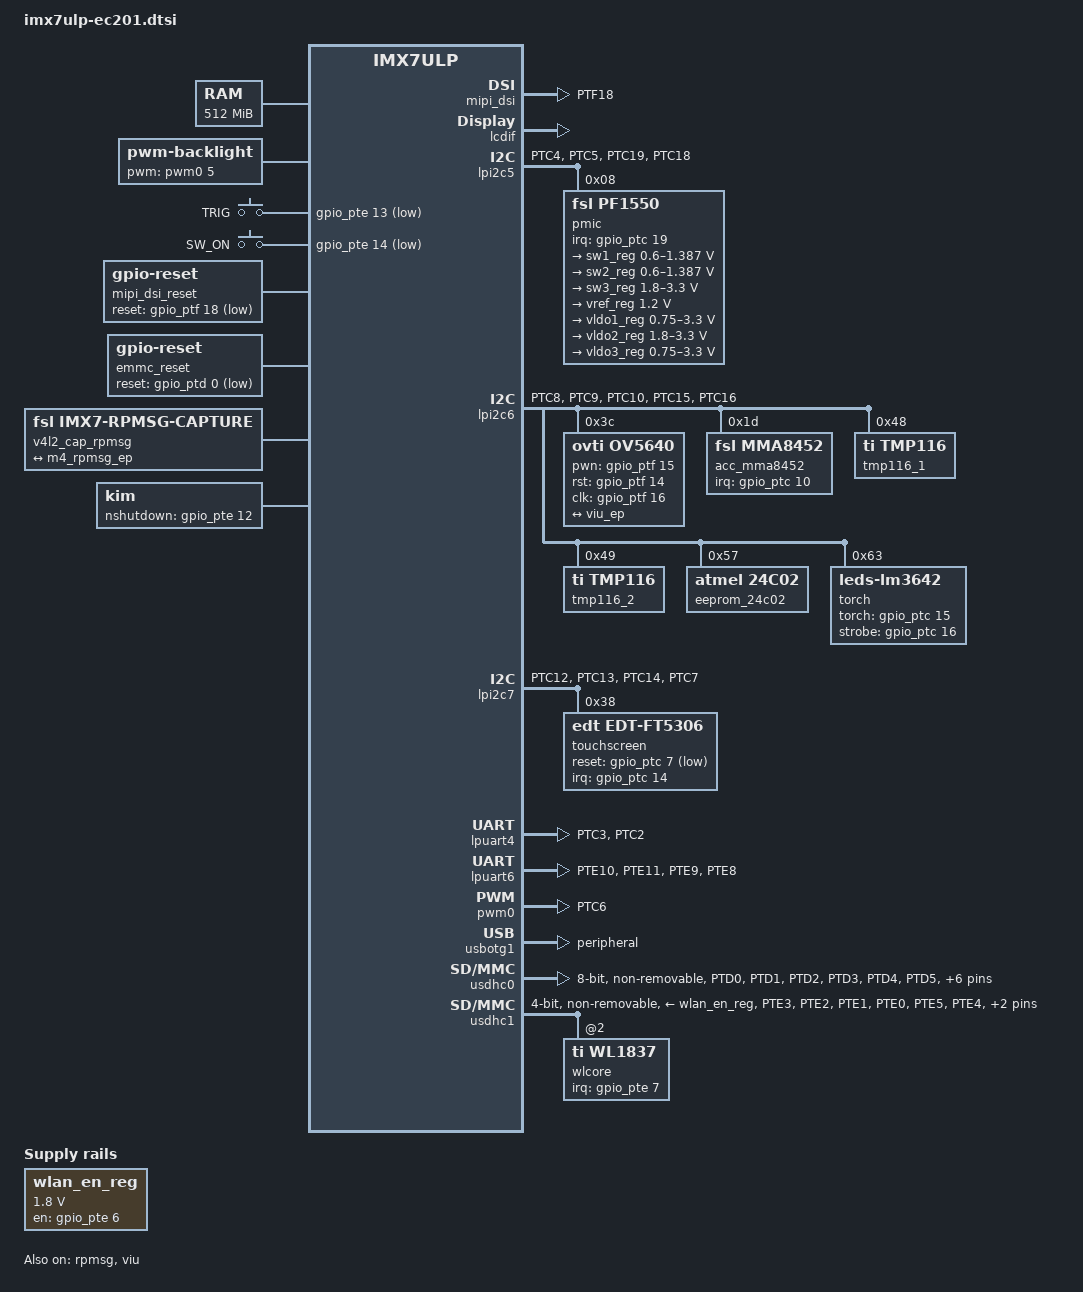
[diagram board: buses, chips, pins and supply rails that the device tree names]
/*
 * Copyright 2019 FLIR
 *
 * This program is free software; you can redistribute it and/or modify
 * it under the terms of the GNU General Public License version 2 as
 * published by the Free Software Foundation.
 */

/ {
	chosen {
		stdout-path = &lpuart4;
	};

	memory {
		device_type = "memory";
		reg = <0x60000000 0x20000000>;
	};

	backlight {
		compatible = "pwm-backlight";
		pwms = <&pwm0 5 50000>;
		brightness-levels = <0 10 20 30 40 50 60 70 80 90 100>;
		default-brightness-level = <7>;
		status = "okay";
	};

	regulators {
		compatible = "simple-bus";
		#address-cells = <1>;
		#size-cells = <0>;

		wlan_en_reg: wlan_en_reg {
			compatible = "regulator-fixed";
			regulator-name = "wl";
			regulator-min-microvolt = <1800000>;
			regulator-max-microvolt = <1800000>;
			gpio = <&gpio_pte 6 GPIO_ACTIVE_HIGH>;
			startup-delay-us = <70000>;
			enable-active-high;
		};
	};

	gpio_keys {
		compatible = "gpio-keys";
		pinctrl-names = "default";
		pinctrl-0 = <&pinctrl_gpiokeys>;
		#address-cells = <1>;
		#size-cells = <0>;

		TRIG {
			label = "TRIG";
			linux,input-type = <5>; /* EV_SW */
			linux,code = <0x120>;
			gpios = <&gpio_pte 13 GPIO_ACTIVE_LOW>;
			debounce-interval = <5>;
		};

		SW_ON {
			label = "SW_ON";
			linux,input-type = <5>; /* EV_SW */
			linux,code = <0x100>;
			gpios = <&gpio_pte 14 GPIO_ACTIVE_LOW>;
			debounce-interval = <5>;
		};
	};

	mipi_dsi_reset: mipi-dsi-reset {
		compatible = "gpio-reset";
		reset-gpios = <&gpio_ptf 18 GPIO_ACTIVE_LOW>;   // Dummy GPIO, not used
		reset-delay-us = <1000>;
		#reset-cells = <0>;
	};

	emmc_reset: emmc_reset {
		compatible = "gpio-reset";
		reset-gpios =  <&gpio_ptd 0 GPIO_ACTIVE_LOW>;
		reset-delay-us = <1000>;
		#reset-cells = <0>;
	};

	v4l2_cap_rpmsg {
		compatible = "fsl,imx7-rpmsg-capture";
		status = "okay";
		port {
			v4l2_cap_rpmsg_ep: endpoint {
				remote-endpoint = <&m4_rpmsg_ep>;
			};
		};
	};

	m4_rpmsg: m4_rpmsg {
		port {
			m4_rpmsg_ep: endpoint {
				remote-endpoint = <&v4l2_cap_rpmsg_ep>;
			};
		};
	};

	// Change memory access priorites (QoS) for AXI switches
	// Refer to chapter 13.2.1 (NIC-301 block diagram) and
	// chapter 13.4.2.3 (ASIB default values) of iMX7ULP reference manual

	nic0: nic0@41c00000 {
		compatible = "arm,nic-301";
		reg = <0x41c00000 0x100000>;
		m3_prio = <4>;		// Reduce 3D GPU prio from 5 to 4
		m4_prio = <4>;		// Reduce 2D GPU prio from 5 to 4
	};

	nic1: nic1@41d00000 {
		compatible = "arm,nic-301";
		reg = <0x41d00000 0x100000>;
		m2_prio = <5>;		// Raise Cortex-M4 prio from 1 to 5
		m5_prio = <5>;		// Raise VIU prio from 4 to 5
	};
	
	kim {
		compatible = "kim";
		nshutdown-gpio = <&gpio_pte 12 GPIO_ACTIVE_HIGH>;
		dev_name = "/dev/ttyLP2";
		flow_cntrl = <1>;
		baud_rate = <3000000>;
	};
 
	btwilink {
		compatible = "btwilink";
	};
};

&cpu0 {
	arm-supply= <&sw1_reg>;
};

/* LCD */
&mipi_dsi {
	pinctrl-names = "default", "sleep";
	pinctrl-0 = <&pinctrl_mipi_dsi_reset>;
	pinctrl-1 = <&pinctrl_mipi_dsi_reset>;
	lcd_panel = "ORISE-VGA";
	status = "okay";
	resets = <&mipi_dsi_reset>;
};

&lcdif {
	status = "okay";
	disp-dev = "mipi_dsi_northwest";
	display = <&display0>;

	display0: display@0 {
		bits-per-pixel = <32>;
		bus-width = <24>;
	};
};

&iomuxc1 {
	pinctrl-names = "default";
	pinctrl-0 = <&pinctrl_hog_1>;

	pinctrl_hog_1: hoggrp-1 {
    	fsl,pins = <
 			IMX7ULP_PAD_PTC0__PTC0      0x20002  /* SHUTTER_IN */
 			IMX7ULP_PAD_PTC1__PTC1      0x20002  /* SHUTTER_OUT */
 			IMX7ULP_PAD_PTE12__PTE12    0x3     /* BT_EN */
 			>;
	};

	pinctrl_pwm0: pwm0grp {
		fsl,pins = <
			IMX7ULP_PAD_PTC6__TPM4_CH5  0x3
			>;
	};

	pinctrl_gpiokeys: gpiokeysgrp {
		fsl,pins = <
			IMX7ULP_PAD_PTE13__PTE13  0x10003
			IMX7ULP_PAD_PTE14__PTE14  0x10003
			>;
		};

	pinctrl_lpi2c5: lpi2c5grp {
		fsl,pins = <
			IMX7ULP_PAD_PTC4__LPI2C5_SCL    0x27
			IMX7ULP_PAD_PTC5__LPI2C5_SDA    0x27
			IMX7ULP_PAD_PTC19__PTC19        0x3  /* PMIC_INT */
			IMX7ULP_PAD_PTC18__PTC18        0x27 /* PMIC_WD */
			>;
	};

	pinctrl_lpi2c6: lpi2c6grp {
		fsl,pins = <
			IMX7ULP_PAD_PTC8__LPI2C6_SCL    0x27
			IMX7ULP_PAD_PTC9__LPI2C6_SDA    0x27
			IMX7ULP_PAD_PTC10__PTC10        0x2 /* ACC_INT_n */
			IMX7ULP_PAD_PTC15__PTC15  	0x3 /* TORCH */
			IMX7ULP_PAD_PTC16__PTC16  	0x3 /* STROBE */
			>;
	};

	pinctrl_lpi2c7: lpi2c7grp {
		fsl,pins = <
			IMX7ULP_PAD_PTC12__LPI2C7_SCL   0x27
			IMX7ULP_PAD_PTC13__LPI2C7_SDA   0x27
			IMX7ULP_PAD_PTC14__PTC14        0x3 /* PCAPINT_n */
			IMX7ULP_PAD_PTC7__PTC7          0x3 /* TP_RESET_n */
			>;
	};

	pinctrl_lpuart4: lpuart4grp {
		fsl,pins = <
			IMX7ULP_PAD_PTC3__LPUART4_RX    0x3
			IMX7ULP_PAD_PTC2__LPUART4_TX    0x3
			>;
	};

	pinctrl_lpuart6: lpuart6grp {
		fsl,pins = <
			IMX7ULP_PAD_PTE10__LPUART6_TX   0x3
			IMX7ULP_PAD_PTE11__LPUART6_RX   0x3
			IMX7ULP_PAD_PTE9__LPUART6_RTS_B 0x3
			IMX7ULP_PAD_PTE8__LPUART6_CTS_B 0x3
			>;
	};

	pinctrl_usdhc0: usdhc0grp {
		fsl,pins = <
			IMX7ULP_PAD_PTD0__PTD0      0x20000     /* USDHC0 RST */
			IMX7ULP_PAD_PTD1__SDHC0_CMD 0x43
			IMX7ULP_PAD_PTD2__SDHC0_CLK 0x10042
			IMX7ULP_PAD_PTD3__SDHC0_D7  0x43
			IMX7ULP_PAD_PTD4__SDHC0_D6  0x43
			IMX7ULP_PAD_PTD5__SDHC0_D5  0x43
			IMX7ULP_PAD_PTD6__SDHC0_D4  0x43
			IMX7ULP_PAD_PTD7__SDHC0_D3  0x43
			IMX7ULP_PAD_PTD8__SDHC0_D2  0x43
			IMX7ULP_PAD_PTD9__SDHC0_D1  0x43
			IMX7ULP_PAD_PTD10__SDHC0_D0 0x43
			IMX7ULP_PAD_PTD11__SDHC0_DQS    0x42
			>;
	};

	pinctrl_usdhc1: usdhc1grp {
		fsl,pins = <
			IMX7ULP_PAD_PTE3__SDHC1_CMD     0x43
			IMX7ULP_PAD_PTE2__SDHC1_CLK     0x10042
			IMX7ULP_PAD_PTE1__SDHC1_D0      0x43
			IMX7ULP_PAD_PTE0__SDHC1_D1      0x43
			IMX7ULP_PAD_PTE5__SDHC1_D2      0x43
			IMX7ULP_PAD_PTE4__SDHC1_D3      0x43
			IMX7ULP_PAD_PTE6__PTE6      	0x3     /* WLAN_EN */
			IMX7ULP_PAD_PTE7__PTE7      	0x2     /* WLAN_IRQ */
			>;
	};

	pinctrl_mipi_dsi_reset: mipi_dsi_reset_grp {
		fsl,pins = <
			IMX7ULP_PAD_PTF18__PTF18    0x3 /* Dummy */
			>;
	};

	pinctrl_camera: camera_grp {
		fsl,pins = <
			IMX7ULP_PAD_PTF16__PTF16    0x20043  /* CAMERA CLK ENABLE*/
			IMX7ULP_PAD_PTF15__PTF15    0x20043  /* CAMERA PWDN */
			IMX7ULP_PAD_PTF14__PTF14    0x20043  /* CAMERA RESET */
			IMX7ULP_PAD_PTF3__VIU_PCLK  0x10043
			IMX7ULP_PAD_PTF6__VIU_D2    0x43
			IMX7ULP_PAD_PTF7__VIU_D3    0x43
			IMX7ULP_PAD_PTF8__VIU_D4    0x43
			IMX7ULP_PAD_PTF9__VIU_D5    0x43
			IMX7ULP_PAD_PTF10__VIU_D6   0x43
			IMX7ULP_PAD_PTF11__VIU_D7   0x43
			IMX7ULP_PAD_PTF12__VIU_D8   0x43
			IMX7ULP_PAD_PTF13__VIU_D9   0x43
			>;
	};
};

/*  PMIC */
&lpi2c5 {
	#address-cells = <1>;
	#size-cells = <0>;
	pinctrl-names = "default", "sleep";
	pinctrl-0 = <&pinctrl_lpi2c5>;
	pinctrl-1 = <&pinctrl_lpi2c5>;
	status = "okay";

	pmic: pf1550@08 {
		compatible = "fsl,pf1550";
		interrupt-parent = <&gpio_ptc>;
		interrupts = <19 IRQ_TYPE_EDGE_FALLING>;
		reg = <0x08>;

		onkey {
			compatible = "fsl,pf1550-onkey";
			linux,keycode = <KEY_POWER>;
			wakeup;
		};

		charger {
			compatible = "fsl,pf1550-charger";
		};

		regulators {
			compatible = "fsl,pf1550-regulator";

			sw1_reg: SW1 {
				regulator-name = "SW1";
				regulator-min-microvolt = <600000>;
				regulator-max-microvolt = <1387500>;
				regulator-boot-on;
				regulator-always-on;
				regulator-ramp-delay = <6250>;
			};

			sw2_reg: SW2 {
				regulator-name = "SW2";
				regulator-min-microvolt = <600000>;
				regulator-max-microvolt = <1387500>;
				regulator-boot-on;
				regulator-always-on;
			};

			sw3_reg: SW3 {
				regulator-name = "SW3";
				regulator-min-microvolt = <1800000>;
				regulator-max-microvolt = <3300000>;
				regulator-boot-on;
				regulator-always-on;
			};

			vref_reg: VREFDDR {
				regulator-name = "VREFDDR";
				regulator-min-microvolt = <1200000>;
				regulator-max-microvolt = <1200000>;
				regulator-boot-on;
				regulator-always-on;
			};

			vldo1_reg: LDO1 {
				regulator-name = "LDO1";
				regulator-min-microvolt = <750000>;
				regulator-max-microvolt = <3300000>;
				regulator-always-on;
			};

			vldo2_reg: LDO2 {
				regulator-name = "LDO2";
				regulator-min-microvolt = <1800000>;
				regulator-max-microvolt = <3300000>;
				regulator-always-on;
			};

			vldo3_reg: LDO3 {
				regulator-name = "LDO3";
				regulator-min-microvolt = <750000>;
				regulator-max-microvolt = <3300000>;
				regulator-always-on;
			};
		};
	};
};

/*  IO expander for VCAM, Lepton, Accelerometer, Temp sensor 1 and 2, EEPROM */
&lpi2c6 {
	#address-cells = <1>;
	#size-cells = <0>;
	pinctrl-names = "default", "sleep";
	pinctrl-0 = <&pinctrl_lpi2c6>;
	pinctrl-1 = <&pinctrl_lpi2c6>;
	status = "okay";

	ov5640: ov5640@3c {
		compatible = "ovti,ov5640";
		reg = <0x3c>;
		pinctrl-names = "default";
		pinctrl-0 = <&pinctrl_camera>;
		clocks = <&clks IMX7ULP_CLK_DUMMY>;
		clock-names = "csi_mclk";
		pwn-gpios = <&gpio_ptf 15 GPIO_ACTIVE_HIGH>;
		rst-gpios = <&gpio_ptf 14 GPIO_ACTIVE_HIGH>;
		clk-gpios = <&gpio_ptf 16 GPIO_ACTIVE_HIGH>;
		csi_id = <0>;
		mclk = <24000000>;
		mclk_source = <0>;
		status = "okay";

		port {
			ov5640_ep: endpoint {
				remote-endpoint = <&viu_ep>;
			};
		};
	};

	acc_mma8452: acc_mma8452@1D {
		compatible = "fsl,mma8452";
		reg = <0x1D>;
		interrupt-parent = <&gpio_ptc>;
		interrupts = <10 IRQ_TYPE_LEVEL_HIGH>;
	 };

	tmp116_1: tmp116_1@48 {
		compatible = "ti,tmp116";
		reg = <0x48>;
	};

	tmp116_2: tmp116_2@49 {
		compatible = "ti,tmp116";
		reg = <0x49>;
	};

	eeprom_24c02: eeprom_24c02@57 {
		compatible = "atmel,24c02";
		reg = <0x57>;
		pagesize = <16>;
	};
	
	torch: torch@63 {
		compatible = "leds-lm3642";
		reg = <0x63>;
		
		flash-ramp = <3>;       /* 010b = 2 ms */
		flash-time-out = <7>;   /* 111b = 800 ms */ 
		torch-max-current = <3>;/* 011b = 375 mA */
		flash-max-current = <7>;/* 0111b = 750 mA */
		ivfm = <3>;		/* 011b = 3.2 V */
		torch-ramp = <5>;	/* 101b = 512 ms */
		torch-gpios = <&gpio_ptc 15 GPIO_ACTIVE_HIGH>;
		strobe-gpios = <&gpio_ptc 16 GPIO_ACTIVE_HIGH>;
	};
};

/* Touch screen */
&lpi2c7 {
	#address-cells = <1>;
	#size-cells = <0>;
	pinctrl-names = "default",  "sleep";
	pinctrl-0 = <&pinctrl_lpi2c7>;
	pinctrl-1 = <&pinctrl_lpi2c7>;
	status = "okay";

	touchscreen:edt_ft5336@38 {
		compatible = "edt,edt-ft5306";
		reg = <0x38>;
		interrupt-parent = <&gpio_ptc>;
		interrupts = <14 GPIO_ACTIVE_HIGH>;
		touchscreen-size-x = <640>;
		touchscreen-size-y = <480>;
		touchscreen-inverted-x;
		touchscreen-inverted-y;
		reset-gpios = <&gpio_ptc 7 GPIO_ACTIVE_LOW>;
		status = "okay";
	};
};

&lpuart4 { /* console */
	pinctrl-names = "default", "sleep";
	pinctrl-0 = <&pinctrl_lpuart4>;
	pinctrl-1 = <&pinctrl_lpuart4>;
	status = "okay";
};

&lpuart6 { /* BT */
	pinctrl-names = "default", "sleep";
	pinctrl-0 = <&pinctrl_lpuart6>;
	pinctrl-1 = <&pinctrl_lpuart6>;
	/* Default 48 MHz FIRC clk does not run at 48 MHz, use 24 MHz SOSC */
	assigned-clock-parents = <&clks IMX7ULP_CLK_SOSC_BUS_CLK>;
	assigned-clock-rates = <24000000>;
	status = "okay";
};

&pwm0 {
	pinctrl-names = "default", "sleep";
	pinctrl-0 = <&pinctrl_pwm0>;
	pinctrl-1 = <&pinctrl_pwm0>;
	status = "okay";
};

&rpmsg_reserved{
	reg = <0x7FF80000 0x80000>;
};

&rpmsg{
	/*
	 * 64K for one rpmsg instance, default using 2 rpmsg instances:
	 * --0x7FF80000~0x7FF8FFFF: pmic,pm,audio,keys,gpio,sensor
	 * --0x7FF90000~0x7FF9FFFF: pingpong,virtual tty
	 */
	vdev-nums = <2>;
	reg = <0x7FF80000 0x20000>;
	status = "okay";
};

&heartbeat_rpmsg{
	status = "disabled";
};

&rtc_rpmsg{
	status = "disabled";
};

&usbotg1 {
	dr_mode = "peripheral";
	srp-disable;
	hnp-disable;
	adp-disable;
	status = "okay";
};

/* emmc */
&usdhc0 {
	pinctrl-names = "default", "sleep";
	pinctrl-0 = <&pinctrl_usdhc0>;
	pinctrl-1 = <&pinctrl_usdhc0>;
	resets = <&emmc_reset>;
	bus-width = <8>;
	non-removable;
	status = "okay";
};

/* wifi */
&usdhc1 {
	pinctrl-names = "default", "sleep";
	pinctrl-0 = <&pinctrl_usdhc1>;
	pinctrl-1 = <&pinctrl_usdhc1>;
	bus-width = <4>;
	pm-ignore-notify;
	keep-power-in-suspend;
	non-removable;
	wifi-host;
	status = "okay";

	vmmc-supply = <&wlan_en_reg>;
	#address-cells = <1>;
	#size-cells = <0>;
	max-frequency = <25000000>;
	wlcore: wlcore@2 {
		compatible = "ti,wl1837";
		reg = <2>;
		interrupt-parent = <&gpio_pte>;
		interrupts = <7 IRQ_TYPE_LEVEL_HIGH>;
		tcxo-clock-frequency = <26000000>;
		ref-clock-frequency = <26000000>;
	};
};

&viu {
	status = "okay";
	port {
	viu_ep: endpoint {
			remote-endpoint = <&ov5640_ep>;
		};
	};
};
